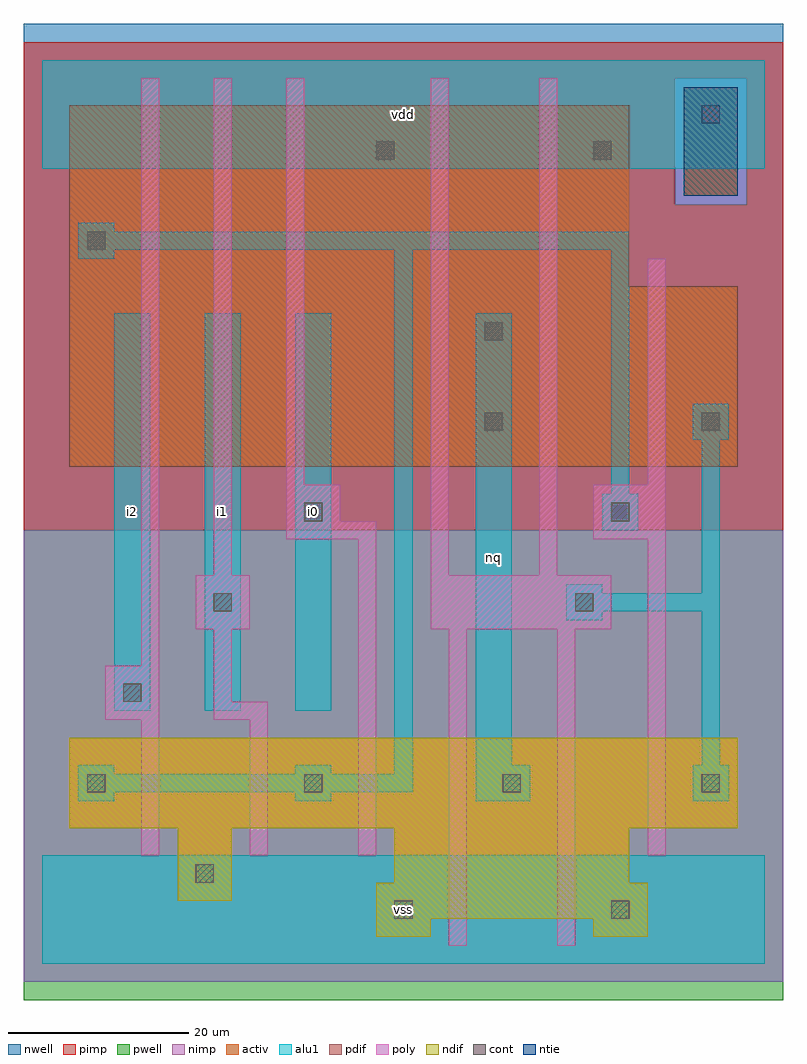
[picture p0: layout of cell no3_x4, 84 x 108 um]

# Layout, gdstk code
import gdstk
lib = gdstk.Library(unit=1e-6, precision=1e-09)
def R(c, l, rs):  # rectangles x0, y0, x1, y1
    for r in rs: c.add(gdstk.rectangle(r[:2], r[2:], *l))
def A(c, l, x, y, w, h, nx, ny, dx, dy):  # array of equal rectangles
    R(c, l, [(x+i*dx, y+j*dy, x+i*dx+w, y+j*dy+h) for i in range(nx) for j in range(ny)])
ndif = (3, 0)
pdif = (4, 0)
ntie = (5, 0)
cont = (25, 0)
pwell = (41, 0)
nwell = (42, 0)
activ = (43, 0)
pimp = (44, 0)
nimp = (45, 0)
poly = (46, 0)
alu1 = (49, 0)

no3_x4 = lib.new_cell('no3_x4')
R(no3_x4, ndif, [(37,3,43,5), (61,3,67,5), (37,5,67,9), (15,7,21,15), (39,9,65,15), (3,15,77,25)])
R(no3_x4, pdif, [(3,55,77,75), (3,75,65,95)])
R(no3_x4, ntie, [(71,85,77,97)])
A(no3_x4, cont, 29, 19, 2, 2, 3, 1, 22, 0)
R(no3_x4, cont, [(39,5,41,7), (63,5,65,7), (17,9,19,11), (5,19,7,21), (9,29,11,31), (19,39,21,41), (59,39,61,41), (29,49,31,51), (63,49,65,51), (49,59,51,61), (73,59,75,61), (49,69,51,71), (5,79,7,81), (37,89,39,91), (61,89,63,91), (73,93,75,95)])
R(no3_x4, pwell, [(-2,-4,82,48)])
R(no3_x4, nwell, [(-2,48,82,104)])
R(no3_x4, activ, [(37,3,43,5), (61,3,67,5), (37,5,67,9), (15,7,21,15), (39,9,65,15), (3,15,77,25), (3,55,77,75), (3,75,65,95), (71,85,77,97)])
R(no3_x4, pimp, [(-2,48,82,84), (-2,84,70,98), (78,84,82,98), (-2,98,82,102)])
R(no3_x4, nimp, [(-2,-2,82,48), (70,84,78,98)])
R(no3_x4, poly, [(45,2,47,37), (57,2,59,37), (11,12,13,27), (23,12,25,27), (35,12,37,47), (67,12,69,47), (7,27,13,33), (19,27,25,29), (19,29,21,37), (11,33,13,98), (17,37,23,43), (43,37,63,43), (19,43,21,98), (43,43,45,98), (55,43,57,98), (27,47,37,49), (61,47,69,53), (27,49,33,53), (27,53,29,98), (67,53,69,78)])
A(no3_x4, alu1, 8, 28, 4, 44, 3, 1, 10, 0)
R(no3_x4, alu1, [(0,0,80,12), (4,18,8,19), (28,18,32,19), (48,18,54,22), (72,18,76,22), (4,19,41,21), (4,21,8,22), (28,21,32,22), (39,21,41,79), (48,22,52,72), (73,22,75,39), (58,38,62,39), (58,39,75,41), (58,41,62,42), (73,41,75,58), (62,48,66,52), (63,52,65,79), (72,58,76,62), (4,78,8,79), (4,79,65,81), (4,81,8,82), (0,88,80,100)])
no3_x4.add(gdstk.Label('i2', (10,50), layer=49, texttype=0))
no3_x4.add(gdstk.Label('i0', (30,50), layer=49, texttype=0))
no3_x4.add(gdstk.Label('i1', (20,50), layer=49, texttype=0))
no3_x4.add(gdstk.Label('vss', (40,6), layer=49, texttype=0))
no3_x4.add(gdstk.Label('nq', (50,45), layer=49, texttype=0))
no3_x4.add(gdstk.Label('vdd', (40,94), layer=49, texttype=0))

lib.write_gds('no3_x4.gds')
